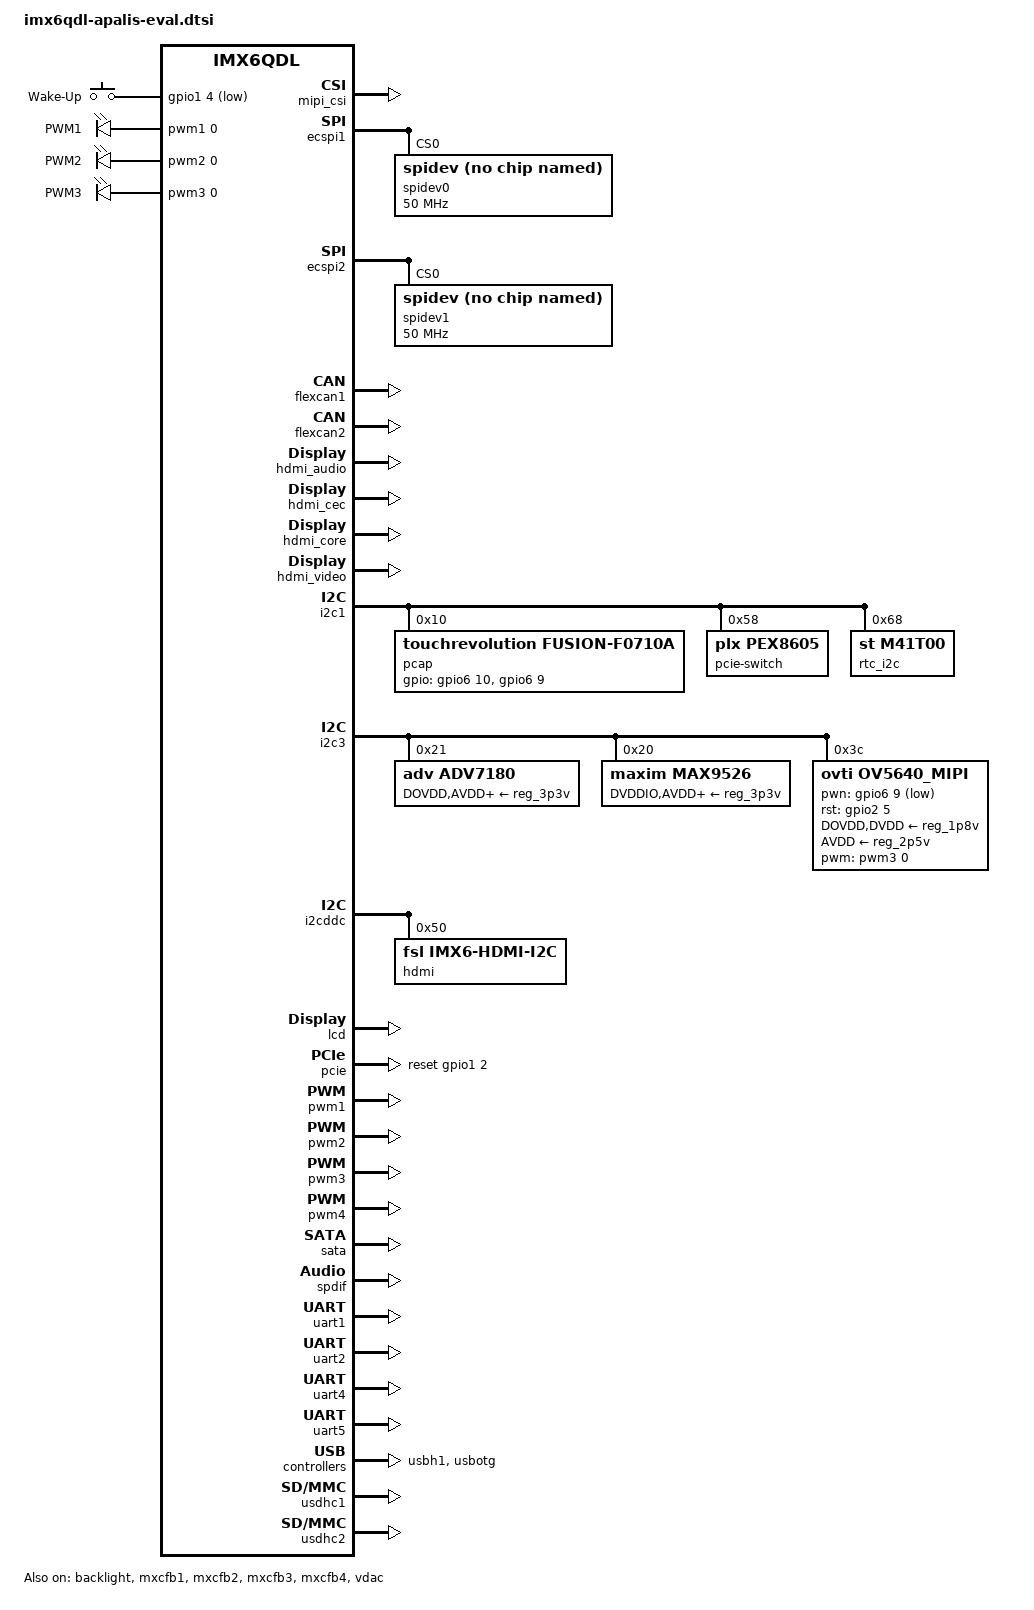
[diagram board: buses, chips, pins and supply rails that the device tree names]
/*
 * Copyright 2014 Toradex AG
 * Copyright 2012 Freescale Semiconductor, Inc.
 * Copyright 2011 Linaro Ltd.
 *
 * The code contained herein is licensed under the GNU General Public
 * License. You may obtain a copy of the GNU General Public License
 * Version 2 or later at the following locations:
 *
 * http://www.opensource.org/licenses/gpl-license.html
 * http://www.gnu.org/copyleft/gpl.html
 */

/ {
	aliases {
		i2c0 = &i2cddc;
		i2c1 = &i2c1;
		i2c2 = &i2c2;
		i2c3 = &i2c3;
	};

	aliases {
		/* the following, together with kernel patches, forces a fixed assignment
		   between device id and usdhc controller */
		/* i.e. the eMMC on usdhc3 will be /dev/mmcblk0 */
		mmc0 = &usdhc3; /* eMMC */
		mmc1 = &usdhc1; /* MMC1 8bit slot */
		mmc2 = &usdhc2; /* SD1  4bit slot */
	};

	aliases {
		rtc0 = &rtc_i2c;
		rtc1 = "/soc/aips-bus@02000000/snvs@020cc000/snvs-rtc-lp@34";
	};

	#define KEY_WAKEUP 143
	gpio-keys {
		compatible = "gpio-keys";
		pinctrl-names = "default";
		pinctrl-0 = <&pinctrl_gpio_keys>;

		wakeup {
			label = "Wake-Up";
			gpios = <&gpio1 4 GPIO_ACTIVE_LOW>;
			linux,code = <KEY_WAKEUP>;
			debounce-interval = <10>;
			gpio-key,wakeup;
		};
	};

	pwmleds {
		compatible = "pwm-leds";
		ledpwm1 {
			label = "PWM1";
			pwms = <&pwm1 0 50000>;
			max-brightness = <255>;
		};

		ledpwm2 {
			label = "PWM2";
			pwms = <&pwm2 0 50000>;
			max-brightness = <255>;
		};

		ledpwm3 {
			label = "PWM3";
			pwms = <&pwm3 0 50000>;
			max-brightness = <255>;
		};
	};

	regulators {
		reg_usb_otg_vbus: usb_otg_vbus {
			status = "okay";
		};

		reg_usb_host_vbus: usb_host_vbus {
			status = "okay";
		};
	};

	v4l2_cap_0 {
		compatible = "fsl,imx6q-v4l2-capture";
		ipu_id = <0>;
		csi_id = <0>;
		mclk_source = <0>;
		status = "okay";
	};

	v4l2_cap_1 { // second parallel camera
		compatible = "fsl,imx6q-v4l2-capture";
		ipu_id = <1>;
		csi_id = <1>;
		mclk_source = <0>;
		status = "okay";
	};

	v4l2_cap_2 { // mipi-csi2 camera
		compatible = "fsl,imx6q-v4l2-capture";
		ipu_id = <0>;
		csi_id = <1>;
		mclk_source = <0>;
		status = "okay";
	};
#if 0
	v4l2_out {
		compatible = "fsl,mxc_v4l2_output";
		status = "okay";
	};
#endif
};

&mipi_csi {
	ipu_id = <0>;
	csi_id = <1>;
	v_channel = <0>;
	lanes = <2>;
	status = "okay";
};

&backlight {
#if 0 /* PWM polarity: if 1 is brightest */
#if 0 /* Fusion 7 needs 10kHz PWM frequency */
	pwms = <&pwm4 0 100000>;
#endif
	brightness-levels = <0 4 8 16 32 64 128 255>;
	default-brightness-level = <6>;
#else /* PWM plarity: if 0 is brightest */
	brightness-levels = <0 127 191 223 239 247 251 255>;
	default-brightness-level = <1>;
#endif
	status = "okay";
};

/* Apalis SPI1 */
&ecspi1 {
	status = "okay";

	spidev0: spidev@1 {
		compatible = "spidev";
		reg = <0>;
		spi-max-frequency = <50000000>;
	};
};

/* Apalis SPI2 */
&ecspi2 {
	status = "okay";

	spidev1: spidev@2 {
		compatible = "spidev";
		reg = <0>;
		spi-max-frequency = <50000000>;
	};
};

&flexcan1 {
	status = "okay";
};

&flexcan2 {
	status = "okay";
};

&hdmi_audio {
	status = "okay";
};

&hdmi_cec {
	status = "okay";
};

&hdmi_core {
	status = "okay";
};

&hdmi_video {
	status = "okay";
};

/*
 * GEN1_I2C: I2C1_SDA/SCL on MXM3 209/211 (e.g. RTC on carrier
 * board)
 */
&i2c1 {
	status = "okay";

	pcap@10 {
		/* TouchRevolution Fusion 7 and 10 multi-touch controller */
		compatible = "touchrevolution,fusion-f0710a";
		reg = <0x10>;
		gpios = <&gpio6 10 0 /* MXM3 11, Pen down interrupt */
			 &gpio6  9 0 /* MXM3 13, Reset */
			>;
	};

	pcie-switch@58 {
		compatible = "plx,pex8605";
		reg = <0x58>;
	};

	/* M41T0M6 real time clock on carrier board */
	rtc_i2c: rtc@68 {
		compatible = "st,m41t00";
		reg = <0x68>;
	};
};

/*
 * GEN2_I2C, CAM: I2C3_SDA/SCL on MXM3 201/203 (unused)
 */
&i2c3 {
	status = "okay";

	/* Video ADC on Analog Camera Module */
	adv7180: adv7180@21 {
		compatible = "adv,adv7180";
		reg = <0x21>;
		pinctrl-names = "default";
		pinctrl-0 = <&pinctrl_ipu1_csi0 &pinctrl_cam_mclk>;
		clocks = <&clks 200>;
		clock-names = "csi_mclk";
		DOVDD-supply = <&reg_3p3v>; /* 3.3v */
		AVDD-supply = <&reg_3p3v>;  /* 1.8v */
		DVDD-supply = <&reg_3p3v>;  /* 1.8v */
		PVDD-supply = <&reg_3p3v>;  /* 1.8v */
		csi_id = <0>;
		mclk = <24000000>;
		mclk_source = <1>;
		cvbs = <1>;
	};

	max9526: max9526@20 {
		compatible = "maxim,max9526";
		reg = <0x20>;
		pinctrl-names = "default";
		pinctrl-0 = <&pinctrl_ipu1_csi0 &pinctrl_cam_mclk>;
		clocks = <&clks 200>;
		clock-names = "csi_mclk";
		DVDDIO-supply = <&reg_3p3v>; /* 3.3v */
		AVDD-supply = <&reg_3p3v>;  /* 1.8v */
		DVDD-supply = <&reg_3p3v>;  /* 1.8v */
		csi_id = <0>;
		mclk = <24000000>;
		mclk_source = <1>;
		cvbs = <1>;
	};

	ov5640_mipi@3c {
		compatible = "ovti,ov5640_mipi";
		reg = <0x3c>;
		clocks = <&clks 147>;
		clock-names = "csi_mclk";
		DOVDD-supply = <&reg_1p8v>;
		AVDD-supply = <&reg_2p5v>;
		DVDD-supply = <&reg_1p8v>;
		pwn-gpios = <&gpio6 9 1>;
		rst-gpios = <&gpio2 5 0>;
		ipu_id = <0>;
		csi_id = <1>;
		mclk = <22000000>;
		mclk_source = <0>;
		pwms = <&pwm3 0 45>;
	};
};

/*
 * DDC_I2C: I2C2_SDA/SCL on MXM3 205/207
 */
&i2cddc {
	status = "okay";

	hdmi: edid@50 {
		compatible = "fsl,imx6-hdmi-i2c";
		reg = <0x50>;
	};
};

&iomuxc {
	/*
	 * Mux the Apalis GPIOs, GPIO7 used for PCIe reset,
	 * GPIO5, 6 used by optional fusion_F0710A kernel module
	 */
	pinctrl-names = "default";
	pinctrl-0 = <&pinctrl_apalis_gpio1 &pinctrl_apalis_gpio2
		     &pinctrl_apalis_gpio3 &pinctrl_apalis_gpio4
		     &pinctrl_apalis_gpio5 &pinctrl_apalis_gpio6
		     &pinctrl_apalis_gpio7 &pinctrl_apalis_gpio8>;
};

&lcd {
	status = "okay";
};

&mxcfb1 {
	status = "okay";
};

&mxcfb2 {
	status = "okay";
};

&mxcfb3 {
	status = "okay";
};

&mxcfb4 {
	status = "okay";
};

&pcie {
	reset-gpio = <&gpio1 2 0>;
	reset-ep-gpio = <&gpio1 28 0>;
	status = "okay";
};

&pwm1 {
	status = "okay";
};

&pwm2 {
	status = "okay";
};

&pwm3 {
	status = "okay";
};

&pwm4 {
	status = "okay";
};

&sata {
	status = "okay";
};

&sound_hdmi {
	status = "okay";
};

&sound_spdif {
	status = "okay";
};

&spdif {
	status = "okay";
};

&uart1 {
	status = "okay";
};

&uart2 {
	status = "okay";
#if 0
	linux,rs485-enabled-at-boot-time;
#endif
};

&uart4 {
	status = "okay";
};

&uart5 {
	status = "okay";
};

&usbh1 {
	status = "okay";
};

&usbotg {
	status = "okay";
};

/* MMC1 */
&usdhc1 {
	status = "okay";
};

/* SD1 */
&usdhc2 {
	status = "okay";
};

&vdac {
	status = "okay";
};
